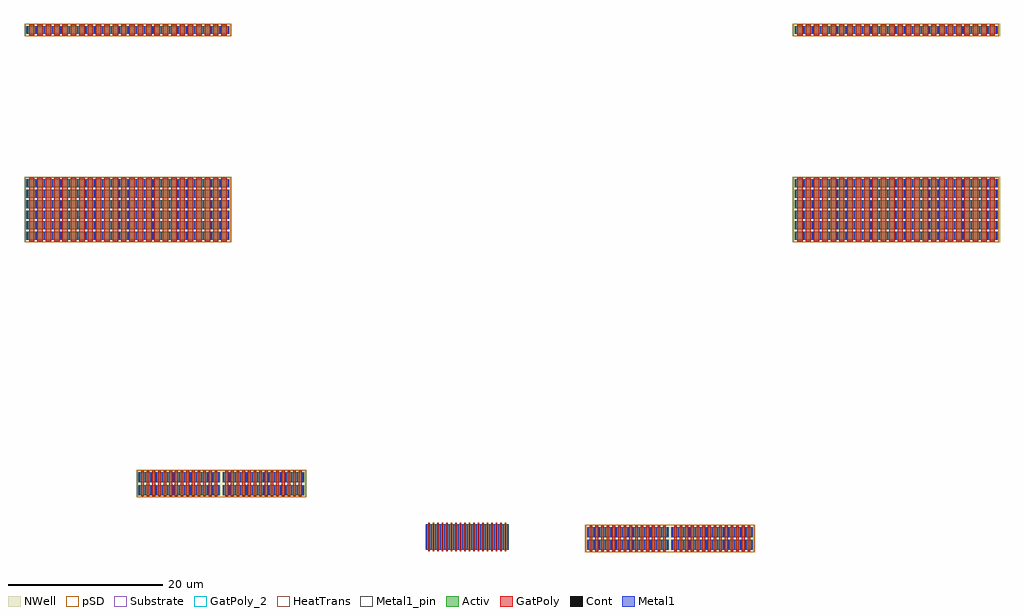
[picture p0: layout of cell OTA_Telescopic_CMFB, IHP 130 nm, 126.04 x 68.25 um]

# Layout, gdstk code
import gdstk
lib = gdstk.Library(unit=1e-6, precision=1e-09)
def R(c, l, rs):  # rectangles x0, y0, x1, y1
    for r in rs: c.add(gdstk.rectangle(r[:2], r[2:], *l))
def A(c, l, x, y, w, h, nx, ny, dx, dy):  # array of equal rectangles
    R(c, l, [(x+i*dx, y+j*dy, x+i*dx+w, y+j*dy+h) for i in range(nx) for j in range(ny)])
Activ = (1, 0)
GatPoly = (5, 0)
GatPoly_2 = (5, 2)
Cont = (6, 0)
Metal1 = (8, 0)
Metal1_pin = (8, 2)
pSD = (14, 0)
NWell = (31, 0)
Substrate = (40, 0)
HeatTrans = (51, 0)

pmos = lib.new_cell('pmos')
A(pmos, Activ, 0, 0, 0.3, 0.3, 7, 1, 1.08, 0)
R(pmos, Activ, [(0,0,6.78,1)])
A(pmos, GatPoly, 0.34, -0.18, 0.7, 1.36, 6, 1, 1.08, 0)
R(pmos, GatPoly, [(0.34,-0.18,1.04,1.18)])
A(pmos, Cont, 0.07, 0.07, 0.16, 0.16, 7, 3, 1.08, 0.35)
A(pmos, Metal1, 1.15, 0, 0.16, 1, 6, 1, 1.08, 0)
R(pmos, Metal1, [(0.07,0,0.23,1), (0.07,0,0.23,1), (1.15,0,1.31,1)])
R(pmos, pSD, [(-0.18,-0.3,6.96,1.3)])
R(pmos, NWell, [(-0.31,-0.31,7.09,1.31)])
R(pmos, Substrate, [(6.48,0,6.78,0.3)])
A(pmos, HeatTrans, 0.34, -0.18, 0.7, 1.36, 6, 1, 1.08, 0)
pmos.add(gdstk.Label('pmos', (0.69,0.5), layer=63, texttype=0))
pmos.add(gdstk.Label('pmos', (0.69,0.5), layer=51, texttype=0))
pmos.add(gdstk.Label('pmos', (1.77,0.5), layer=51, texttype=0))
pmos.add(gdstk.Label('pmos', (2.85,0.5), layer=51, texttype=0))
pmos.add(gdstk.Label('pmos', (3.93,0.5), layer=51, texttype=0))
pmos.add(gdstk.Label('pmos', (5.01,0.5), layer=51, texttype=0))
pmos.add(gdstk.Label('pmos', (6.09,0.5), layer=51, texttype=0))

pmos_1 = lib.new_cell('pmos$1')
A(pmos_1, Activ, 0, 0, 0.3, 0.3, 8, 1, 0.73, 0)
R(pmos_1, Activ, [(0,0,5.41,1.285)])
A(pmos_1, GatPoly, 0.34, -0.18, 0.35, 1.645, 7, 1, 0.73, 0)
R(pmos_1, GatPoly, [(0.34,-0.18,0.69,1.465)])
A(pmos_1, Cont, 0.07, 0.07, 0.16, 0.16, 8, 2, 0.73, 0.49)
A(pmos_1, Cont, 0.07, 1.055, 0.16, 0.16, 8, 1, 0.73, 0)
A(pmos_1, Metal1, 0.8, 0, 0.16, 1.285, 7, 1, 0.73, 0)
R(pmos_1, Metal1, [(0.07,0,0.23,1.285), (0.07,0,0.23,1.285), (0.8,0,0.96,1.285)])
R(pmos_1, pSD, [(-0.18,-0.3,5.59,1.585)])
R(pmos_1, NWell, [(-0.31,-0.31,5.72,1.595)])
R(pmos_1, Substrate, [(5.11,0,5.41,0.3)])
A(pmos_1, HeatTrans, 0.34, -0.18, 0.35, 1.645, 7, 1, 0.73, 0)
pmos_1.add(gdstk.Label('pmos', (0.515,0.643), layer=63, texttype=0))
pmos_1.add(gdstk.Label('pmos', (0.515,0.643), layer=51, texttype=0))
pmos_1.add(gdstk.Label('pmos', (1.245,0.643), layer=51, texttype=0))
pmos_1.add(gdstk.Label('pmos', (1.975,0.643), layer=51, texttype=0))
pmos_1.add(gdstk.Label('pmos', (2.705,0.643), layer=51, texttype=0))
pmos_1.add(gdstk.Label('pmos', (3.435,0.643), layer=51, texttype=0))
pmos_1.add(gdstk.Label('pmos', (4.165,0.643), layer=51, texttype=0))
pmos_1.add(gdstk.Label('pmos', (4.895,0.643), layer=51, texttype=0))

nmos = lib.new_cell('nmos')
A(nmos, Activ, 0, 0, 0.3, 0.3, 10, 1, 0.58, 0)
R(nmos, Activ, [(0,0,5.52,3.33)])
A(nmos, GatPoly, 0.34, -0.18, 0.2, 3.69, 9, 1, 0.58, 0)
R(nmos, GatPoly_2, [(0.34,-0.18,0.54,3.51)])
A(nmos, Cont, 0.07, 0.07, 0.16, 0.16, 10, 2, 0.58, 0.375)
A(nmos, Cont, 0.07, 0.825, 0.16, 0.16, 10, 3, 0.58, 0.38)
A(nmos, Cont, 0.07, 1.96, 0.16, 0.16, 10, 4, 0.58, 0.38)
A(nmos, Metal1, 0.07, 0, 0.16, 3.33, 10, 1, 0.58, 0)
R(nmos, Metal1_pin, [(0.07,0,0.23,3.33), (0.65,0,0.81,3.33)])
A(nmos, HeatTrans, 0.34, -0.18, 0.2, 3.69, 9, 1, 0.58, 0)
nmos.add(gdstk.Label('nmos', (0.44,1.665), layer=63, texttype=0))
nmos.add(gdstk.Label('nmos', (0.44,1.665), layer=51, texttype=0))
nmos.add(gdstk.Label('nmos', (1.02,1.665), layer=51, texttype=0))
nmos.add(gdstk.Label('nmos', (1.6,1.665), layer=51, texttype=0))
nmos.add(gdstk.Label('nmos', (2.18,1.665), layer=51, texttype=0))
nmos.add(gdstk.Label('nmos', (2.76,1.665), layer=51, texttype=0))
nmos.add(gdstk.Label('nmos', (3.34,1.665), layer=51, texttype=0))
nmos.add(gdstk.Label('nmos', (3.92,1.665), layer=51, texttype=0))
nmos.add(gdstk.Label('nmos', (4.5,1.665), layer=51, texttype=0))
nmos.add(gdstk.Label('nmos', (5.08,1.665), layer=51, texttype=0))

ota_telescopic_cmfb = lib.new_cell('OTA_Telescopic_CMFB')
ota_telescopic_cmfb.add(gdstk.Reference(pmos, (824.615,44.125)))
ota_telescopic_cmfb.add(gdstk.Reference(pmos, (831.095,44.125)))
ota_telescopic_cmfb.add(gdstk.Reference(pmos, (837.575,44.125)))
ota_telescopic_cmfb.add(gdstk.Reference(pmos, (844.055,44.125)))
ota_telescopic_cmfb.add(gdstk.Reference(pmos, (837.575,66.625)))
ota_telescopic_cmfb.add(gdstk.Reference(pmos, (844.055,66.625)))
ota_telescopic_cmfb.add(gdstk.Reference(pmos, (824.615,41.405)))
ota_telescopic_cmfb.add(gdstk.Reference(pmos, (831.095,41.405)))
ota_telescopic_cmfb.add(gdstk.Reference(pmos, (837.575,41.405)))
ota_telescopic_cmfb.add(gdstk.Reference(pmos, (844.055,41.405)))
ota_telescopic_cmfb.add(gdstk.Reference(pmos, (824.615,46.845)))
ota_telescopic_cmfb.add(gdstk.Reference(pmos, (831.095,46.845)))
ota_telescopic_cmfb.add(gdstk.Reference(pmos, (837.575,46.845)))
ota_telescopic_cmfb.add(gdstk.Reference(pmos, (844.055,46.845)))
ota_telescopic_cmfb.add(gdstk.Reference(pmos, (824.615,42.765)))
ota_telescopic_cmfb.add(gdstk.Reference(pmos, (831.095,42.765)))
ota_telescopic_cmfb.add(gdstk.Reference(pmos, (837.575,42.765)))
ota_telescopic_cmfb.add(gdstk.Reference(pmos, (844.055,42.765)))
ota_telescopic_cmfb.add(gdstk.Reference(pmos, (824.615,66.625)))
ota_telescopic_cmfb.add(gdstk.Reference(pmos, (831.095,66.625)))
ota_telescopic_cmfb.add(gdstk.Reference(pmos, (824.615,40.045)))
ota_telescopic_cmfb.add(gdstk.Reference(pmos, (831.095,40.045)))
ota_telescopic_cmfb.add(gdstk.Reference(pmos, (837.575,40.045)))
ota_telescopic_cmfb.add(gdstk.Reference(pmos, (844.055,40.045)))
ota_telescopic_cmfb.add(gdstk.Reference(pmos, (824.615,45.485)))
ota_telescopic_cmfb.add(gdstk.Reference(pmos, (831.095,45.485)))
ota_telescopic_cmfb.add(gdstk.Reference(pmos, (837.575,45.485)))
ota_telescopic_cmfb.add(gdstk.Reference(pmos, (844.055,45.485)))
ota_telescopic_cmfb.add(gdstk.Reference(pmos_1, (849.965,7.075)))
ota_telescopic_cmfb.add(gdstk.Reference(pmos_1, (855.075,7.075)))
ota_telescopic_cmfb.add(gdstk.Reference(pmos_1, (897.03,0)))
ota_telescopic_cmfb.add(gdstk.Reference(pmos_1, (902.14,0)))
ota_telescopic_cmfb.add(gdstk.Reference(pmos_1, (913.02,0)))
ota_telescopic_cmfb.add(gdstk.Reference(nmos, (876.18,0)))
ota_telescopic_cmfb.add(gdstk.Reference(nmos, (881.4,0)))
ota_telescopic_cmfb.add(gdstk.Reference(pmos_1, (913.02,1.645)))
ota_telescopic_cmfb.add(gdstk.Reference(pmos_1, (907.91,1.645)))
ota_telescopic_cmfb.add(gdstk.Reference(pmos_1, (902.14,1.645)))
ota_telescopic_cmfb.add(gdstk.Reference(pmos_1, (897.03,1.645)))
ota_telescopic_cmfb.add(gdstk.Reference(pmos_1, (849.965,8.72)))
ota_telescopic_cmfb.add(gdstk.Reference(pmos_1, (907.91,0)))
ota_telescopic_cmfb.add(gdstk.Reference(pmos, (930.295,66.625)))
ota_telescopic_cmfb.add(gdstk.Reference(pmos, (923.815,66.625)))
ota_telescopic_cmfb.add(gdstk.Reference(pmos, (943.255,40.045)))
ota_telescopic_cmfb.add(gdstk.Reference(pmos, (936.775,40.045)))
ota_telescopic_cmfb.add(gdstk.Reference(pmos, (930.295,40.045)))
ota_telescopic_cmfb.add(gdstk.Reference(pmos, (943.255,42.765)))
ota_telescopic_cmfb.add(gdstk.Reference(pmos, (936.775,42.765)))
ota_telescopic_cmfb.add(gdstk.Reference(pmos, (930.295,42.765)))
ota_telescopic_cmfb.add(gdstk.Reference(pmos, (943.255,45.485)))
ota_telescopic_cmfb.add(gdstk.Reference(pmos, (936.775,45.485)))
ota_telescopic_cmfb.add(gdstk.Reference(pmos, (930.295,45.485)))
ota_telescopic_cmfb.add(gdstk.Reference(pmos, (943.255,41.405)))
ota_telescopic_cmfb.add(gdstk.Reference(pmos, (936.775,41.405)))
ota_telescopic_cmfb.add(gdstk.Reference(pmos, (930.295,41.405)))
ota_telescopic_cmfb.add(gdstk.Reference(pmos, (943.255,44.125)))
ota_telescopic_cmfb.add(gdstk.Reference(pmos, (936.775,44.125)))
ota_telescopic_cmfb.add(gdstk.Reference(pmos, (930.295,44.125)))
ota_telescopic_cmfb.add(gdstk.Reference(pmos, (943.255,46.845)))
ota_telescopic_cmfb.add(gdstk.Reference(pmos, (936.775,46.845)))
ota_telescopic_cmfb.add(gdstk.Reference(pmos, (930.295,46.845)))
ota_telescopic_cmfb.add(gdstk.Reference(pmos, (943.255,66.625)))
ota_telescopic_cmfb.add(gdstk.Reference(pmos, (936.775,66.625)))
ota_telescopic_cmfb.add(gdstk.Reference(pmos, (923.815,46.845)))
ota_telescopic_cmfb.add(gdstk.Reference(pmos, (923.815,44.125)))
ota_telescopic_cmfb.add(gdstk.Reference(pmos, (923.815,41.405)))
ota_telescopic_cmfb.add(gdstk.Reference(pmos, (923.815,45.485)))
ota_telescopic_cmfb.add(gdstk.Reference(pmos, (923.815,42.765)))
ota_telescopic_cmfb.add(gdstk.Reference(pmos, (923.815,40.045)))
ota_telescopic_cmfb.add(gdstk.Reference(pmos_1, (839.085,7.075)))
ota_telescopic_cmfb.add(gdstk.Reference(pmos_1, (844.195,7.075)))
ota_telescopic_cmfb.add(gdstk.Reference(pmos_1, (839.085,8.72)))
ota_telescopic_cmfb.add(gdstk.Reference(pmos_1, (844.195,8.72)))
ota_telescopic_cmfb.add(gdstk.Reference(pmos_1, (855.075,8.72)))

lib.write_gds('OTA_Telescopic_CMFB.gds')
